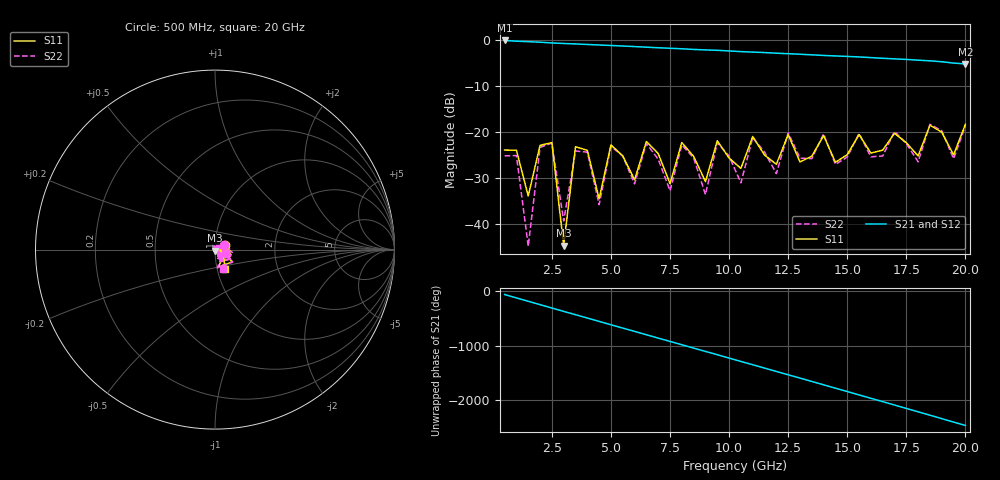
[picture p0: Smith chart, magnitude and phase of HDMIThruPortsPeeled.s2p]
! File created by SignalIntegrity v1.4.3: Signal and Power Integrity Tools
! https://github.com/Nubis-Communications/SignalIntegrity
# MHz S MA R 50.0
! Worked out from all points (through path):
!   40 points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, 500 MHz to 20 GHz, reference 50 ohm
!   highest |S21| = -0.14 dB at 500 MHz (marker M1); lowest = -5.2 dB at 20 GHz (marker M2)
!   lowest |S11| = -44.7 dB at 3 GHz (marker M3), VSWR 1.01, Z = 50.1 - j0.568 ohm
!   |S11| at or under -10 dB: start of sweep to end of sweep
!   |S22| runs from -44.8 to -18.4 dB; largest |S21 - S12| = 0.0074
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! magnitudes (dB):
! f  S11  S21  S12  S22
! 500 MHz  -23.9  -0.1  -0.1  -25.2
! 1 GHz  -24.0  -0.3  -0.3  -25.2
! 1.5 GHz  -33.9  -0.4  -0.4  -44.8
! 2 GHz  -22.9  -0.5  -0.6  -23.4
! 2.5 GHz  -22.3  -0.7  -0.7  -22.4
! 3 GHz  -44.7  -0.8  -0.8  -39.4
! 3.5 GHz  -23.2  -0.9  -0.9  -24.1
! 4 GHz  -24.0  -1.0  -1.0  -24.4
! 4.5 GHz  -34.5  -1.1  -1.2  -35.8
! 5 GHz  -22.8  -1.2  -1.2  -23.1
! 6 GHz  -30.4  -1.5  -1.5  -31.3
! 7 GHz  -24.7  -1.7  -1.7  -25.9
! 7.5 GHz  -31.2  -1.8  -1.8  -32.8
! 8 GHz  -22.3  -1.9  -2.0  -22.9
! 9 GHz  -30.8  -2.2  -2.2  -33.6
! 9.5 GHz  -21.9  -2.3  -2.3  -22.3
! 10.5 GHz  -27.9  -2.6  -2.6  -31.1
! 11 GHz  -21.0  -2.7  -2.7  -21.3
! 13.5 GHz  -25.3  -3.3  -3.3  -25.8
! 17 GHz  -20.3  -4.1  -4.2  -19.9
! 18 GHz  -25.2  -4.4  -4.5  -26.5
! 20 GHz  -18.4  -5.2  -5.2  -18.7
